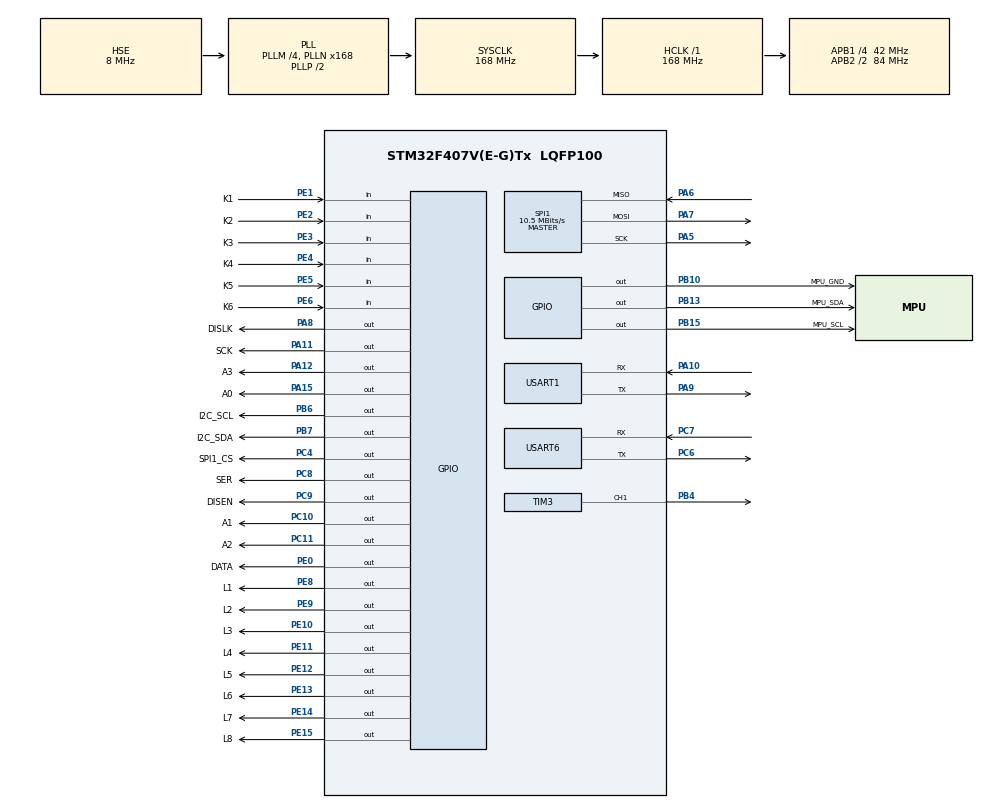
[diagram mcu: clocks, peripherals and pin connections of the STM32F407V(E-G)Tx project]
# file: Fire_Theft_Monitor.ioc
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FREERTOS.Tasks01=MainTask,24,512,StartMainTask,Default,NULL,Dynamic,NULL,NULL;KeyTask,24,256,StartKeyTask,Default,NULL,Dynamic,NULL,NULL;UartTask,24,256,StartUartTask,Default,NULL,Dynamic,NULL,NULL;GUITask,24,1024,StartGUITask,Default,NULL,Dynamic,NULL,NULL;DataTask,25,128,StartDataTask,Default,NULL,Dynamic,NULL,NULL
FREERTOS.configTOTAL_HEAP_SIZE=30000
Mcu.Family=STM32F4
Mcu.Name=STM32F407V(E-G)Tx
Mcu.Package=LQFP100
NVIC.PriorityGroup=NVIC_PRIORITYGROUP_4
NVIC.TIM7_IRQn=true\:15\:0\:false\:false\:true\:false\:false\:true\:true
NVIC.TimeBase=TIM7_IRQn
NVIC.TimeBaseIP=TIM7
NVIC.USART6_IRQn=true\:5\:0\:false\:false\:true\:true\:true\:true\:true
PA10.Mode=Asynchronous
PA10.Signal=USART1_RX
PA11.GPIO_Label=SCK
PA11.Signal=GPIO_Output
PA12.GPIO_Label=A3
PA12.Signal=GPIO_Output
PA13.Mode=Serial_Wire
PA13.Signal=SYS_JTMS-SWDIO
PA14.Mode=Serial_Wire
PA14.Signal=SYS_JTCK-SWCLK
PA15.GPIO_Label=A0
PA15.Signal=GPIO_Output
PA5.Mode=Full_Duplex_Master
PA5.Signal=SPI1_SCK
PA6.Mode=Full_Duplex_Master
PA6.Signal=SPI1_MISO
PA7.Mode=Full_Duplex_Master
PA7.Signal=SPI1_MOSI
PA8.GPIO_Label=DISLK
PA8.Signal=GPIO_Output
PA9.Mode=Asynchronous
PA9.Signal=USART1_TX
PB10.GPIO_Label=MPU_GND
PB10.Signal=GPIO_Output
PB13.GPIO_Label=MPU_SDA
PB13.GPIO_ModeDefaultOutputPP=GPIO_MODE_OUTPUT_OD
PB13.GPIO_PuPd=GPIO_NOPULL
PB13.Signal=GPIO_Output
PB15.GPIO_Label=MPU_SCL
PB15.GPIO_ModeDefaultOutputPP=GPIO_MODE_OUTPUT_OD
PB15.GPIO_PuPd=GPIO_NOPULL
PB15.Signal=GPIO_Output
PB4.Signal=S_TIM3_CH1
PB6.GPIO_Label=I2C_SCL
PB6.Signal=GPIO_Output
PB7.GPIO_Label=I2C_SDA
PB7.Signal=GPIO_Output
PC10.GPIO_Label=A1
PC10.Signal=GPIO_Output
PC11.GPIO_Label=A2
PC11.Signal=GPIO_Output
PC4.GPIO_Label=SPI1_CS
PC4.Signal=GPIO_Output
PC6.Mode=Asynchronous
PC6.Signal=USART6_TX
PC7.Mode=Asynchronous
PC7.Signal=USART6_RX
PC8.GPIO_Label=SER
PC8.Signal=GPIO_Output
PC9.GPIO_Label=DISEN
PC9.Signal=GPIO_Output
PE0.GPIO_Label=DATA
PE0.Signal=GPIO_Output
PE1.GPIO_Label=K1
PE1.GPIO_PuPd=GPIO_PULLUP
PE1.Signal=GPIO_Input
PE10.GPIO_Label=L3
PE10.GPIO_PuPd=GPIO_NOPULL
PE10.PinState=GPIO_PIN_SET
PE10.Signal=GPIO_Output
PE11.GPIO_Label=L4
PE11.PinState=GPIO_PIN_SET
PE11.Signal=GPIO_Output
PE12.GPIO_Label=L5
PE12.PinState=GPIO_PIN_SET
PE12.Signal=GPIO_Output
PE13.GPIO_Label=L6
PE13.PinState=GPIO_PIN_SET
PE13.Signal=GPIO_Output
PE14.GPIO_Label=L7
PE14.PinState=GPIO_PIN_SET
PE14.Signal=GPIO_Output
PE15.GPIO_Label=L8
PE15.Signal=GPIO_Output
PE2.GPIO_Label=K2
PE2.GPIO_PuPd=GPIO_PULLUP
PE2.Signal=GPIO_Input
PE3.GPIO_Label=K3
PE3.GPIO_PuPd=GPIO_PULLUP
PE3.Signal=GPIO_Input
PE4.GPIO_Label=K4
PE4.GPIO_PuPd=GPIO_PULLUP
PE4.Signal=GPIO_Input
PE5.GPIO_Label=K5
PE5.GPIO_PuPd=GPIO_PULLDOWN
PE5.Signal=GPIO_Input
PE6.GPIO_Label=K6
PE6.GPIO_PuPd=GPIO_PULLDOWN
PE6.Signal=GPIO_Input
PE8.GPIO_Label=L1
PE8.PinState=GPIO_PIN_SET
PE8.Signal=GPIO_Output
PE9.GPIO_Label=L2
PE9.PinState=GPIO_PIN_SET
PE9.Signal=GPIO_Output
PH0-OSC_IN.Mode=HSE-External-Oscillator
PH0-OSC_IN.Signal=RCC_OSC_IN
PH1-OSC_OUT.Mode=HSE-External-Oscillator
PH1-OSC_OUT.Signal=RCC_OSC_OUT
ProjectManager.HeapSize=0x200
ProjectManager.StackSize=0x400
ProjectManager.TargetToolchain=MDK-ARM V5.32
RCC.48MHZClocksFreq_Value=84000000
RCC.AHBFreq_Value=168000000
RCC.APB1CLKDivider=RCC_HCLK_DIV4
RCC.APB1Freq_Value=42000000
RCC.APB1TimFreq_Value=84000000
RCC.APB2CLKDivider=RCC_HCLK_DIV2
RCC.APB2Freq_Value=84000000
RCC.APB2TimFreq_Value=168000000
RCC.CortexFreq_Value=168000000
RCC.HCLKFreq_Value=168000000
RCC.HSE_VALUE=8000000
RCC.HSI_VALUE=16000000
RCC.LSE_VALUE=32768
RCC.PLLM=4
RCC.PLLN=168
RCC.PLLSourceVirtual=RCC_PLLSOURCE_HSE
RCC.RCC_RTC_Clock_Source=RCC_RTCCLKSOURCE_LSI
RCC.RCC_RTC_Clock_SourceVirtual=RCC_RTCCLKSOURCE_LSE
RCC.SYSCLKFreq_VALUE=168000000
RCC.SYSCLKSource=RCC_SYSCLKSOURCE_PLLCLK
RCC.VCOOutputFreq_Value=336000000
SH.S_TIM3_CH1.0=TIM3_CH1,PWM Generation1 CH1
SPI1.BaudRatePrescaler=SPI_BAUDRATEPRESCALER_8
SPI1.CalculateBaudRate=10.5 MBits/s
SPI1.Direction=SPI_DIRECTION_2LINES
SPI1.Mode=SPI_MODE_MASTER
SPI1.VirtualType=VM_MASTER
TIM3.AutoReloadPreload=TIM_AUTORELOAD_PRELOAD_ENABLE
TIM3.Channel-PWM\ Generation1\ CH1=TIM_CHANNEL_1
TIM3.Period=1000-1
TIM3.Prescaler=84-1
USART1.VirtualMode=VM_ASYNC
USART6.VirtualMode=VM_ASYNC
VP_FREERTOS_VS_CMSIS_V2.Mode=CMSIS_V2
VP_SYS_VS_tim7.Mode=TIM7
VP_TIM3_VS_ClockSourceINT.Mode=Internal
board=custom

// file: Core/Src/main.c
/* USER CODE BEGIN Header */
/**
  ******************************************************************************
  * @file           : main.c
  * @brief          : Main program body
  ******************************************************************************
  * @attention
  *
  * Copyright (c) 2024 STMicroelectronics.
  * All rights reserved.
  *
  * This software is licensed under terms that can be found in the LICENSE file
  * in the root directory of this software component.
  * If no LICENSE file comes with this software, it is provided AS-IS.
  *
  ******************************************************************************
  */
/* USER CODE END Header */
#include "main.h"
#include "cmsis_os.h"
#include "spi.h"
#include "tim.h"
#include "usart.h"
#include "gpio.h"

void SystemClock_Config(void);
void MX_FREERTOS_Init(void);

int main(void)
{

  /* MCU Configuration--------------------------------------------------------*/

  /* Reset of all peripherals, Initializes the Flash interface and the Systick. */
  HAL_Init();

  /* Configure the system clock */
  SystemClock_Config();

  /* Initialize all configured peripherals */
  MX_GPIO_Init();
  MX_USART1_UART_Init();
  MX_TIM3_Init();
  MX_USART6_UART_Init();
  MX_SPI1_Init();

  /* Init scheduler */
  osKernelInitialize();  /* Call init function for freertos objects (in freertos.c) */
  MX_FREERTOS_Init();

  /* Start scheduler */
  osKernelStart();
  /* We should never get here as control is now taken by the scheduler */
  /* Infinite loop */
  while (1)
  {

  }
}

void SystemClock_Config(void)
{
  RCC_OscInitTypeDef RCC_OscInitStruct = {0};
  RCC_ClkInitTypeDef RCC_ClkInitStruct = {0};

  /** Configure the main internal regulator output voltage
  */
  __HAL_RCC_PWR_CLK_ENABLE();
  __HAL_PWR_VOLTAGESCALING_CONFIG(PWR_REGULATOR_VOLTAGE_SCALE1);

  /** Initializes the RCC Oscillators according to the specified parameters
  * in the RCC_OscInitTypeDef structure.
  */
  RCC_OscInitStruct.OscillatorType = RCC_OSCILLATORTYPE_HSE;
  RCC_OscInitStruct.HSEState = RCC_HSE_ON;
  RCC_OscInitStruct.PLL.PLLState = RCC_PLL_ON;
  RCC_OscInitStruct.PLL.PLLSource = RCC_PLLSOURCE_HSE;
  RCC_OscInitStruct.PLL.PLLM = 4;
  RCC_OscInitStruct.PLL.PLLN = 168;
  RCC_OscInitStruct.PLL.PLLP = RCC_PLLP_DIV2;
  RCC_OscInitStruct.PLL.PLLQ = 4;
  if (HAL_RCC_OscConfig(&RCC_OscInitStruct) != HAL_OK)
  {
    Error_Handler();
  }

  /** Initializes the CPU, AHB and APB buses clocks
  */
  RCC_ClkInitStruct.ClockType = RCC_CLOCKTYPE_HCLK|RCC_CLOCKTYPE_SYSCLK
                              |RCC_CLOCKTYPE_PCLK1|RCC_CLOCKTYPE_PCLK2;
  RCC_ClkInitStruct.SYSCLKSource = RCC_SYSCLKSOURCE_PLLCLK;
  RCC_ClkInitStruct.AHBCLKDivider = RCC_SYSCLK_DIV1;
  RCC_ClkInitStruct.APB1CLKDivider = RCC_HCLK_DIV4;
  RCC_ClkInitStruct.APB2CLKDivider = RCC_HCLK_DIV2;

  if (HAL_RCC_ClockConfig(&RCC_ClkInitStruct, FLASH_LATENCY_5) != HAL_OK)
  {
    Error_Handler();
  }
}

void HAL_TIM_PeriodElapsedCallback(TIM_HandleTypeDef *htim)
{
  if (htim->Instance == TIM7) {
    HAL_IncTick();
  }
}

void Error_Handler(void)
{
  __disable_irq();
  while (1)
  {
  }
}

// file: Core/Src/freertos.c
/* USER CODE BEGIN Header */
/**
  ******************************************************************************
  * File Name          : freertos.c
  * Description        : Code for freertos applications
  ******************************************************************************
  * @attention
  *
  * Copyright (c) 2024 STMicroelectronics.
  * All rights reserved.
  *
  * This software is licensed under terms that can be found in the LICENSE file
  * in the root directory of this software component.
  * If no LICENSE file comes with this software, it is provided AS-IS.
  *
  ******************************************************************************
  */
/* USER CODE END Header */

#include "FreeRTOS.h"
#include "task.h"
#include "main.h"
#include "cmsis_os.h"

/* USER CODE BEGIN Includes */
#include "UI.h"
#include <stdio.h>
//#include "MPU6050.h"
#include "ESP01.h"
#include "Device.h"
#include "stdlib.h"
#include "string.h"
#include "w25qxx.h"
/* USER CODE END Includes */

/* Definitions for MainTask */
osThreadId_t MainTaskHandle;
const osThreadAttr_t MainTask_attributes = {
  .name = "MainTask",
  .stack_size = 512 * 4,
  .priority = (osPriority_t) osPriorityNormal,
};
/* Definitions for KeyTask */
osThreadId_t KeyTaskHandle;
const osThreadAttr_t KeyTask_attributes = {
  .name = "KeyTask",
  .stack_size = 256 * 4,
  .priority = (osPriority_t) osPriorityNormal,
};
/* Definitions for UartTask */
osThreadId_t UartTaskHandle;
const osThreadAttr_t UartTask_attributes = {
  .name = "UartTask",
  .stack_size = 256 * 4,
  .priority = (osPriority_t) osPriorityNormal,
};
/* Definitions for GUITask */
osThreadId_t GUITaskHandle;
const osThreadAttr_t GUITask_attributes = {
  .name = "GUITask",
  .stack_size = 1024 * 4,
  .priority = (osPriority_t) osPriorityNormal,
};
/* Definitions for DataTask */
osThreadId_t DataTaskHandle;
const osThreadAttr_t DataTask_attributes = {
  .name = "DataTask",
  .stack_size = 128 * 4,
  .priority = (osPriority_t) osPriorityNormal1,
};

void StartMainTask(void *argument);
void StartKeyTask(void *argument);
void StartUartTask(void *argument);
void StartGUITask(void *argument);
void StartDataTask(void *argument);

void MX_FREERTOS_Init(void); /* (MISRA C 2004 rule 8.1) */

void MX_FREERTOS_Init(void) {

  /* Create the thread(s) */
  /* creation of MainTask */
  MainTaskHandle = osThreadNew(StartMainTask, NULL, &MainTask_attributes);

  /* creation of KeyTask */
  KeyTaskHandle = osThreadNew(StartKeyTask, NULL, &KeyTask_attributes);

  /* creation of UartTask */
  UartTaskHandle = osThreadNew(StartUartTask, NULL, &UartTask_attributes);

  /* creation of GUITask */
  GUITaskHandle = osThreadNew(StartGUITask, NULL, &GUITask_attributes);

  /* creation of DataTask */
  DataTaskHandle = osThreadNew(StartDataTask, NULL, &DataTask_attributes);

}

void StartMainTask(void *argument)
{
  /* USER CODE BEGIN StartMainTask */
  //等待mpu6050初始�?
  printf("in mainTask!");
  while(!mpuok){osDelay(1);}
  /* Infinite loop */
  for(;;)
  {
    //系统状态机控制
		SYS_state();
    osDelay(1);
  }
  /* USER CODE END StartMainTask */
}

void StartKeyTask(void *argument)
{
  /* USER CODE BEGIN StartKeyTask */
  //等待mpu6050初始化
  printf("in keyTask");
	while(!mpuok){osDelay(1);}
  /* Infinite loop */
  for(;;)
  {
    //通过if else间接锁定了按键，只要报警了，按键被锁定
		if(Temp_state || Shock_state)Ulock();
		else UI_key();
    osDelay(1);
  }
  /* USER CODE END StartKeyTask */
}

void StartUartTask(void *argument)
{
  /* USER CODE BEGIN StartUartTask */
  static uint8_t esp01_rx_blink_cnt=0;
  /* Infinite loop */
  for(;;)
  {
    //leds_sta=0;
    if(esp01_blink_flag==1){
      leds_sta=0xff;
      esp01_rx_blink_cnt++;
      if(esp01_rx_blink_cnt>=10){
        leds_sta=0;
        esp01_blink_flag=0;
        esp01_rx_blink_cnt=0;
      }
    }
		SetLeds(leds_sta);

    if (EspRxDataOk() && UI_Select != GUI_LOGO)
    {
      //处理LED闪烁和接收字节增加
      esp01_blink_flag=1;
      esp01_rx_blink_cnt=0;
      esp01_recv_cnt+=g_esp01.rxdata.rx_len;

      if(g_esp01.rxdata.rx_len>0){
        char* pstr=(char *)(g_esp01.rxdata.rx_buf);
        if(strstr(pstr,"UPON")==pstr){
          g_bupting=1;
        }else if(strstr(pstr,"UPOFF")==pstr){
          g_bupting=0;
        }else if(strstr(pstr,"GETPARA")==pstr){
          sprintf(upstr,"param:%6d,%6d,%6d,%6.1f\n",sys_set.Temp_stand,sys_set.Shock_sens,sys_set.Alarm_time,sys_set.Upload_inter);
          esp01_send_cnt+=strlen(upstr);
          if(!esp01_blink_flag) esp01_blink_flag=1;
          SendEspStr(upstr);
        }else if(strstr(pstr,"ParamSet:")==pstr){
          PARA_SYS tmp_sys_set;
          char* p=pstr+9;
          tmp_sys_set.Temp_stand=atoi(p);
          p=strstr(p,",");
          if(p>pstr){
            tmp_sys_set.Shock_sens=atoi(p+1);
            p=strstr(p+1,",");
            if(p>pstr){
              tmp_sys_set.Alarm_time=atoi(p+1);
              p=strstr(p+1,",");
              if(p>pstr){
                tmp_sys_set.Upload_inter=(float)atoi(p+1)/1000.0;
                if((tmp_sys_set.Temp_stand>=0 && tmp_sys_set.Temp_stand<=90) &&
                  (tmp_sys_set.Shock_sens>=0 && tmp_sys_set.Shock_sens<=9) &&
                  (tmp_sys_set.Alarm_time>=0 && tmp_sys_set.Alarm_time<=60) &&
                  (tmp_sys_set.Upload_inter>=0.1 && tmp_sys_set.Upload_inter<=10)){
                    memcpy(&sys_set,&tmp_sys_set,sizeof(sys_set));
                    printf("Save: %d℃, %d, %d秒, %.1f毫秒",sys_set.Temp_stand,sys_set.Shock_sens,sys_set.Alarm_time,sys_set.Upload_inter);
					          W25QXX_Write((uint8_t *)&sys_set,0,sizeof(sys_set));//写入参数
                  }
              }
            }
          }
        }
      }
    }
    osDelay(1);
  }
  /* USER CODE END StartUartTask */
}

void StartGUITask(void *argument)
{
  /* USER CODE BEGIN StartGUITask */
	UI_Init();
  //等待mpu6050初始�?
	while(!mpuok){osDelay(1);}
  /* Infinite loop */
  for(;;)
  {
		UI_Show();
    osDelay(1);
  }
  /* USER CODE END StartGUITask */
}

void StartDataTask(void *argument)
{
  /* USER CODE BEGIN StartDataTask */
	SYS_Init();
  /* Infinite loop */
  for(;;)
  {
		Information_Update();
		osDelay(5);
  }
  /* USER CODE END StartDataTask */
}
